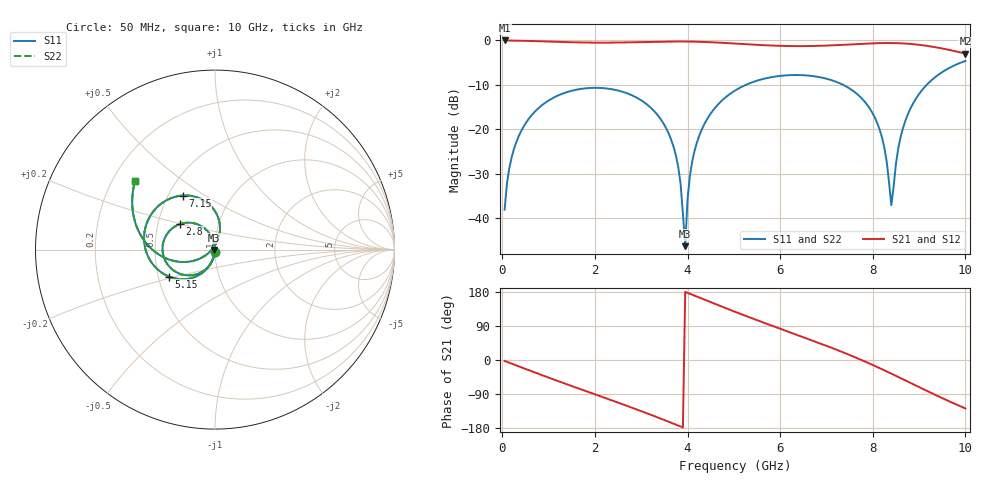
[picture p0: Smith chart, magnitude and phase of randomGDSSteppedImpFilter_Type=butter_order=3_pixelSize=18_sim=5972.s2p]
! freq	dB(S11)	phase(S11)	dB(S12)	phase(S12)
!  dB(S21)	phase(S21)	dB(S22)	phase(S22)
!S-par simulation data
#  GHz  S  DB  R 50
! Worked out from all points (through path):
!   200 points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, 50 MHz to 10 GHz, reference 50 ohm
!   highest |S21| = 0.00 dB at 50 MHz (marker M1); lowest = -3.0 dB at 10 GHz (marker M2)
!   group delay of S21, straight-line fit = 133 ps
!   lowest |S11| = -46.4 dB at 3.95 GHz (marker M3), VSWR 1.01, Z = 49.6 - j0.216 ohm
!   |S11| at or under -10 dB: start of sweep to 5.262 GHz; 7.359 GHz to 9.166 GHz (1.807 GHz wide, 21.9 % of centre)
!   |S22| runs from -46.3 to -4.6 dB; largest |S21 - S12| = 0
!   S11 on the Smith chart (normalised r, x): 50 MHz: 1.00, -0.02; 2.8 GHz: 0.65, +0.20; 5.15 GHz: 0.57, -0.19; 7.15 GHz: 0.59, +0.41; 10 GHz: 0.29, +0.34
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0.05  -38.14 -93.8  -0.00 -2.4  -0.00 -2.4  -38.14 -93.8
0.2  -26.42 -100.5  -0.03 -9.5  -0.03 -9.5  -26.42 -100.5
0.5  -18.74 -114.1  -0.09 -23.6  -0.09 -23.6  -18.74 -114.1
1.75  -10.84 -170.3  -0.47 -79.7  -0.47 -79.7  -10.84 -170.3
2.8  -12.36 143.7  -0.41 -125.8  -0.41 -125.8  -12.36 143.7
3.4  -17.44 116.6  -0.28 -153.7  -0.28 -153.7  -17.44 116.6
3.8  -28.56 100.3  -0.24 -173.0  -0.24 -173.0  -28.56 100.4
3.95  -46.35 -153.0  -0.25 179.6  -0.25 179.6  -46.32 -153.1
4.05  -30.58 -101.3  -0.26 174.7  -0.26 174.7  -30.58 -101.4
4.2  -23.07 -105.6  -0.29 167.3  -0.29 167.3  -23.07 -105.6
5.05  -11.14 -144.9  -0.71 126.1  -0.71 126.1  -11.14 -144.9
5.15  -10.56 -149.5  -0.78 121.4  -0.78 121.4  -10.56 -149.5
5.9  -8.12 176.8  -1.18 87.1  -1.18 87.1  -8.12 176.8
6.7  -8.03 141.5  -1.25 51.4  -1.25 51.4  -8.03 141.5
7.15  -9.09 120.9  -1.09 30.4  -1.09 30.4  -9.09 120.9
8  -16.48 80.2  -0.65 -13.2  -0.65 -13.2  -16.48 80.2
8.2  -21.90 73.2  -0.59 -24.4  -0.59 -24.4  -21.90 73.4
8.35  -31.86 86.6  -0.58 -33.0  -0.58 -33.0  -31.81 87.0
8.4  -37.11 134.7  -0.58 -35.9  -0.58 -35.9  -36.96 134.8
8.6  -21.82 -148.4  -0.64 -47.7  -0.64 -47.7  -21.81 -148.6
8.95  -12.83 -163.4  -0.92 -68.6  -0.92 -68.6  -12.83 -163.5
10  -4.62 139.2  -2.96 -127.8  -2.96 -127.8  -4.62 139.1
